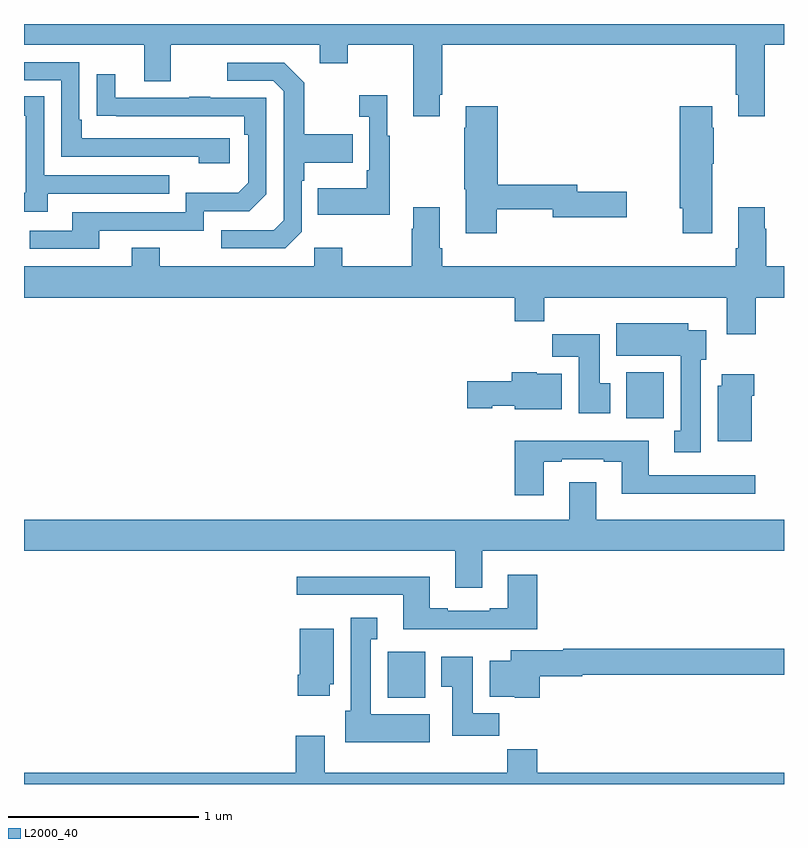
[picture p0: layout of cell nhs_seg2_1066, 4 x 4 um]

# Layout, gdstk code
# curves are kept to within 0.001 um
import gdstk
lib = gdstk.Library(unit=1e-6, precision=1e-09)
def R(c, l, rs):  # rectangles x0, y0, x1, y1
    for r in rs: c.add(gdstk.rectangle(r[:2], r[2:], *l))
def P(c, l, *ps):  # polygons
    for p in ps: c.add(gdstk.Polygon(p, *l))
L2000_40 = (2000, 40)

nhs_seg2_1066 = lib.new_cell('nhs_seg2_1066')
R(nhs_seg2_1066, L2000_40, [(168.914,588.254,169.111,588.496), (170.171,589.724,170.368,589.966)])
P(nhs_seg2_1066, L2000_40, [(167,591.692),(167.633,591.692),(167.633,591.498),(167.773,591.498),(167.773,591.692),(168.557,591.692),(168.557,591.593),(168.705,591.593),(168.705,591.692),(169.049,591.692),(169.049,591.315),(169.189,591.315),(169.189,591.427),(169.202,591.427),(169.202,591.692),(170.747,591.692),(170.747,591.427),(170.759,591.427),(170.759,591.315),(170.899,591.315),(170.899,591.692),(171,591.692),(171,591.8),(167,591.8)],
  [(168.082,591.198),(167.305,591.198),(167.305,591.295),(167.292,591.295),(167.292,591.6),(167,591.6),(167,591.504),(167.196,591.504),(167.196,591.102),(167.921,591.102),(167.921,591.068),(168.082,591.068)],
  [(168.462,590.706),(168.462,590.975),(168.475,590.975),(168.475,591.071),(168.731,591.071),(168.731,591.219),(168.475,591.219),(168.475,591.491),(168.369,591.597),(168.069,591.597),(168.069,591.501),(168.312,591.501),(168.366,591.447),(168.366,590.766),(168.315,590.715),(168.039,590.715),(168.039,590.619),(168.375,590.619)],
  [(167.395,590.712),(167.946,590.712),(167.946,590.814),(168.186,590.814),(168.276,590.904),(168.276,591.411),(167.981,591.411),(167.981,591.416),(167.869,591.416),(167.869,591.411),(167.479,591.411),(167.479,591.535),(167.383,591.535),(167.383,591.316),(168.16,591.315),(168.16,591.218),(168.18,591.218),(168.18,590.964),(168.127,590.911),(167.85,590.911),(167.85,590.808),(167.255,590.808),(167.255,590.712),(167.031,590.712),(167.031,590.616),(167.395,590.616)],
  [(168.925,591.211),(168.913,591.211),(168.913,591.424),(168.765,591.424),(168.765,591.311),(168.816,591.311),(168.816,591.031),(168.804,591.031),(168.804,590.935),(168.547,590.935),(168.547,590.795),(168.925,590.795)],
  [(167.125,590.907),(167.765,590.907),(167.765,591.003),(167.106,591.003),(167.106,591.419),(167,591.419),(167,591.318),(167.01,591.318),(167.01,590.913),(167,590.913),(167,590.813),(167.125,590.813)],
  [(170.623,591.065),(170.631,591.065),(170.631,591.254),(170.623,591.254),(170.623,591.367),(170.45,591.367),(170.45,590.829),(170.468,590.829),(170.468,590.7),(170.623,590.7)],
  [(169.488,590.826),(169.784,590.826),(169.784,590.783),(170.173,590.783),(170.173,590.918),(169.912,590.918),(169.912,590.954),(169.493,590.954),(169.493,591.367),(169.325,591.367),(169.325,591.254),(169.318,591.254),(169.318,590.931),(169.325,590.931),(169.325,590.7),(169.488,590.7)],
  [(170.852,590.36),(171,590.36),(171,590.524),(170.907,590.524),(170.907,590.723),(170.899,590.723),(170.899,590.836),(170.759,590.836),(170.759,590.62),(170.747,590.62),(170.747,590.524),(169.202,590.524),(169.202,590.62),(169.189,590.62),(169.189,590.836),(169.049,590.836),(169.049,590.723),(169.042,590.723),(169.042,590.524),(168.675,590.524),(168.675,590.623),(168.528,590.623),(168.528,590.524),(167.715,590.524),(167.715,590.623),(167.567,590.623),(167.567,590.524),(167,590.524),(167,590.36),(169.583,590.36),(169.583,590.236),(169.739,590.236),(169.739,590.36),(170.699,590.36),(170.699,590.166),(170.852,590.166)],
  [(170.563,590.034),(170.59,590.034),(170.59,590.188),(170.497,590.188),(170.497,590.224),(170.117,590.224),(170.117,590.054),(170.456,590.054),(170.456,589.658),(170.423,589.658),(170.423,589.545),(170.563,589.545)],
  [(170.086,589.908),(170.029,589.908),(170.029,590.166),(169.78,590.166),(169.78,590.048),(169.919,590.048),(169.919,589.752),(170.086,589.752)],
  [(169.831,589.96),(169.698,589.96),(169.698,589.966),(169.568,589.966),(169.568,589.92),(169.332,589.92),(169.332,589.778),(169.464,589.778),(169.464,589.79),(169.584,589.79),(169.584,589.772),(169.831,589.772)],
  [(170.83,589.844),(170.843,589.844),(170.843,589.957),(170.672,589.957),(170.672,589.896),(170.651,589.896),(170.651,589.604),(170.83,589.604)],
  [(169.735,589.497),(169.831,589.497),(169.831,589.509),(170.051,589.509),(170.051,589.497),(170.147,589.497),(170.147,589.328),(170.848,589.328),(170.848,589.425),(170.287,589.425),(170.287,589.606),(169.583,589.606),(169.583,589.32),(169.735,589.32)],
  [(169.411,589.028),(171,589.028),(171,589.192),(170.011,589.192),(170.011,589.387),(169.871,589.387),(169.871,589.192),(167,589.192),(167,589.028),(169.271,589.028),(169.271,588.834),(169.411,588.834)],
  [(169.7,588.901),(169.547,588.901),(169.547,588.724),(169.451,588.724),(169.451,588.711),(169.231,588.711),(169.231,588.724),(169.135,588.724),(169.135,588.892),(168.435,588.892),(168.435,588.795),(168.995,588.795),(168.995,588.614),(169.7,588.614)],
  [(169.135,588.166),(168.826,588.166),(168.826,588.563),(168.859,588.563),(168.859,588.676),(168.719,588.676),(168.719,588.186),(168.692,588.186),(168.692,588.02),(169.135,588.02)],
  [(168.61,588.324),(168.631,588.324),(168.631,588.616),(168.452,588.616),(168.452,588.376),(168.44,588.376),(168.44,588.264),(168.61,588.264)],
  [(169.715,588.368),(169.938,588.368),(169.938,588.376),(171,588.376),(171,588.512),(169.838,588.512),(169.838,588.505),(169.562,588.505),(169.562,588.448),(169.451,588.448),(169.451,588.26),(169.584,588.26),(169.584,588.254),(169.715,588.254)],
  [(169.502,588.172),(169.363,588.172),(169.363,588.469),(169.196,588.469),(169.196,588.313),(169.253,588.313),(169.253,588.054),(169.502,588.054)],
  [(171,587.86),(169.7,587.86),(169.7,587.984),(169.543,587.984),(169.543,587.86),(168.583,587.86),(168.583,588.055),(168.431,588.055),(168.431,587.86),(167,587.86),(167,587.8),(171,587.8)])

lib.write_gds('nhs_seg2_1066.gds')
